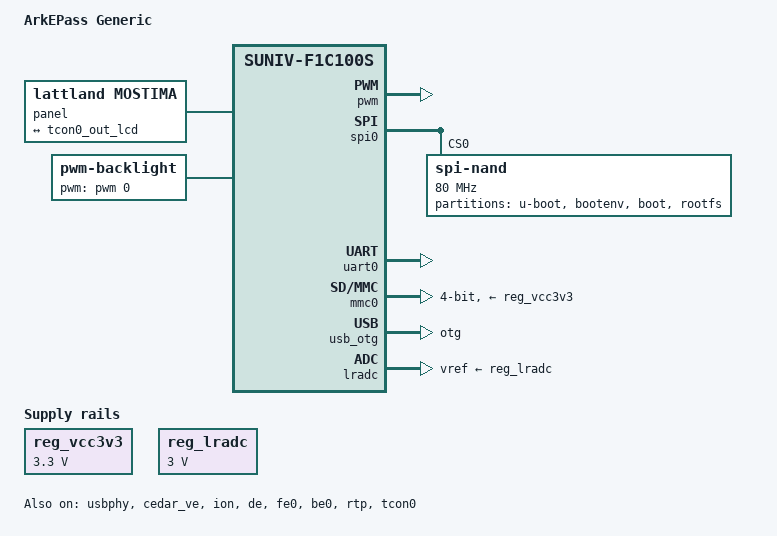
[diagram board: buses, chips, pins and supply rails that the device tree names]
// SPDX-License-Identifier: (GPL-2.0+ OR X11)

/dts-v1/;
#include "suniv-f1c100s.dtsi"
#include <dt-bindings/input/input.h>
#include <dt-bindings/gpio/gpio.h>
#include <dt-bindings/display/st7701initseq.h>

/ {
	model = "ArkEPass Generic";
	compatible = "rhodesisland,electric-pass",
	         "allwinner,suniv-f1c200s",
			 "allwinner,suniv-f1c100s";

	chosen {
		#address-cells = <1>;
		#size-cells = <1>;
		ranges;

		// this bootargs will not work. change bootargs in uboot!
		bootargs = "i luv mostima";

	};

	panel: panel {
		compatible = "lattland,mostima", "simple-panel";	// 360x640 3 inch

		#address-cells = <1>;
		#size-cells = <0>;

		port@0 {
			reg = <0>;
			#address-cells = <1>;
			#size-cells = <0>;

			panel_input: endpoint@0 {
				reg = <0>;
				remote-endpoint = <&tcon0_out_lcd>;
			};
		};
	};
	reg_vcc3v3: vcc3v3 {
		compatible = "regulator-fixed";
		regulator-name = "vcc3v3";
		regulator-min-microvolt = <3300000>;
		regulator-max-microvolt = <3300000>;
	};

	reg_lradc: reg_lradc {
		compatible = "regulator-fixed";
		regulator-name = "lradc_vref";
		regulator-min-microvolt = <3000000>;
		regulator-max-microvolt = <3000000>;
	};

	backlight {
		compatible = "pwm-backlight";
		pwms = <&pwm 0 10000 0>;
		

		brightness-levels = <0 4 8 16 32 64 128 196 220 255>;
		default-brightness-level = <6>;
	};

	reserved-memory {
		#address-cells = <1>;
		#size-cells = <1>;
		ranges;

		// VE dedicated CMA pool: can be borrowed by page cache/anonymous pages when idle, and reclaimed by the driver when decoding.
		cedar_reserved: cedar-pool {
			compatible = "shared-dma-pool";
			reusable;
			size = <0x1000000>;
			alignment = <0x400000>;
		};
	};

	st7701initseq: st7701initseq {
		compatible = "lattland,st7701-initseq";
		status = "disabled";
	};
};

&pio{


	spi1_pins: spi1-pins {
		pins = "PE7","PE8", "PE9", "PE10";
		function = "spi1";
		bias-pull-up;
	};

	rtp_pins_0: rtp-pins-0 {
		pins = "PA0";
		function = "rtp";
	};

    rtp_pins_01: rtp-pins-01 {
		pins = "PA0","PA1";
		function = "rtp";
	};
	
	lcd_rgb565_no_de_pins: lcd-rgb565-no-de-pins {
		pins = "PD1", "PD2", "PD3", "PD4", "PD5",
			"PD6", "PD7", "PD8", "PD9", "PD10", "PD11", 
			"PD13", "PD14", "PD15", "PD16", "PD17",
			"PD18", "PD20", "PD21";
		function = "lcd";
	};

    i2s_pins_pe: i2s-pins-pe {
		pins = "PE3","PE5","PE6","PA1";
		function = "i2s";
	};

    i2s_pins_pa: i2s-pins-pa {
		pins = "PE3","PA2","PA3","PA1";
		function = "i2s";
	};

    
};

&pwm {
	pinctrl-names = "default";
	pinctrl-0 = <&pwm0_pe_pins>;
	status = "okay";
};


&spi0 {
	status = "okay";

	spi-nand@0 {
		#address-cells = <1>;
		#size-cells = <1>;
		compatible = "spi-nand";
		reg = <0>;
		spi-max-frequency = <80000000>;
		status = "okay";

		partitions {
			compatible = "fixed-partitions";
			#address-cells = <1>;
			#size-cells = <1>;

			partition@0 {
				label = "u-boot";
				reg = <0x000000 0x0e0000>;
				read-only;
			};

			partition@e0000 {
				label = "bootenv";
				reg = <0x0e0000 0x020000>;
			};

			partition@100000 {
				label = "boot";
				reg = <0x100000 0x600000>;
			};

			partition@700000 {
				label = "rootfs";
				reg = <0x700000 0x7900000>;
			};
		};
	};
};

&spi1 {
	pinctrl-names = "default";
	pinctrl-0 = <&spi1_pins>;
	status = "disabled";
	spidev@0 {
	   compatible = "rohm,dh2228fv";	/* Same as "spidev" but without errors at boot. Search "buggy DT" to understand */
	   spi-max-frequency = <80000000>;
	   reg = <0>;
	};
};

&uart0 {
	pinctrl-names = "default";
	pinctrl-0 = <&uart0_pe_pins>;
	status = "okay";
};
&uart1 {
	pinctrl-names = "default";
	pinctrl-0 = <&uart1_pa_pins>;
	status = "disabled";
};
&uart2 {
	pinctrl-names = "default";
	pinctrl-0 = <&uart2_pe_pins>;
	status = "disabled";
};

&mmc0 {	
	vmmc-supply = <&reg_vcc3v3>;
	bus-width = <4>;
	status = "okay";
	broken-cd;
};

&otg_sram {
	status = "okay";
};

&usb_otg {
	dr_mode = "otg"; /* otg host peripheral */
	status = "okay";
};

&usbphy {
	status = "okay";
};

&cedar_ve {
	memory-region = <&cedar_reserved>;
	status = "okay";
};

&ion {
	status = "okay";
};

&de {
	status = "okay";
};

&fe0 {
	status = "okay";
};

&be0 {
	status = "okay";
};

&tve0 {
	status = "disabled";
};

&rtp {
	status = "okay";
	pinctrl-0 = <&rtp_pins_0>;
	pinctrl-names = "default";
};

&tcon0 {
	pinctrl-names = "default";
	pinctrl-0 = <&lcd_rgb565_no_de_pins>;
	status = "okay";
};

&tcon0_out {
	tcon0_out_lcd: endpoint@0 {
		reg = <0>;
		remote-endpoint = <&panel_input>;
	};
};

&lradc {
	vref-supply = <&reg_lradc>;
	status = "okay";
};

&i2c0 {
	pinctrl-names = "default";
	pinctrl-0 = <&i2c0_pd_pins>;
	status = "disabled";
};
